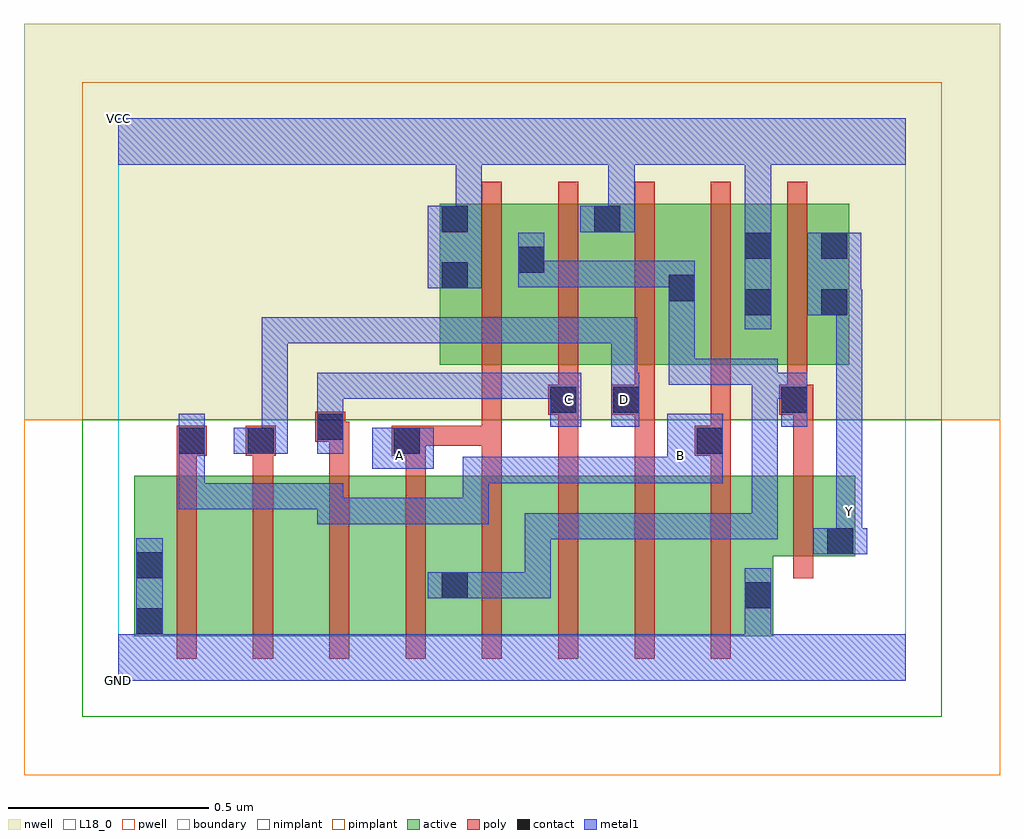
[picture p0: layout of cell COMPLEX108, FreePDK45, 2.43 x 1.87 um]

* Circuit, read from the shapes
.subckt COMPLEX108 A B C D GND VCC Y
M1 n1 B GND VSUBS nfet w=0.4u l=0.05u
M2 n2 D n1 VSUBS nfet w=0.4u l=0.05u
M3 n3 C n2 VSUBS nfet w=0.4u l=0.05u
M4 n4 A n3 VSUBS nfet w=0.4u l=0.05u
M5 n5 A n4 VSUBS nfet w=0.4u l=0.05u
M6 n6 C n5 VSUBS nfet w=0.4u l=0.05u
M7 n7 D n6 VSUBS nfet w=0.4u l=0.05u
M8 GND B n7 VSUBS nfet w=0.4u l=0.05u
M9 Y n4 GND VSUBS nfet w=0.2u l=0.05u
M10 n4 A VCC n8 pfet w=0.4u l=0.05u
M11 VCC C n4 n8 pfet w=0.4u l=0.05u
M12 n4 D VCC n8 pfet w=0.4u l=0.05u
M13 VCC B n4 n8 pfet w=0.4u l=0.05u
M14 Y n4 VCC n8 pfet w=0.4u l=0.05u
.ends

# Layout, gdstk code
import gdstk
lib = gdstk.Library(unit=1e-6, precision=1e-09)
def R(c, l, rs):  # rectangles x0, y0, x1, y1
    for r in rs: c.add(gdstk.rectangle(r[:2], r[2:], *l))
def A(c, l, x, y, w, h, nx, ny, dx, dy):  # array of equal rectangles
    R(c, l, [(x+i*dx, y+j*dy, x+i*dx+w, y+j*dy+h) for i in range(nx) for j in range(ny)])
active = (1, 0)
pwell = (2, 0)
nwell = (3, 0)
nimplant = (4, 0)
pimplant = (5, 0)
poly = (9, 0)
contact = (10, 0)
metal1 = (11, 0)
L18_0 = (18, 0)
boundary = (235, 0)

complex108 = lib.new_cell('COMPLEX108')
R(complex108, active, [(0.04,0.11,0.265,0.51), (0.04,0.11,0.115,0.51), (0.265,0.11,0.455,0.51), (0.455,0.11,0.645,0.51), (0.645,0.11,0.875,0.51), (0.8,0.11,1.025,0.51), (1.025,0.11,1.215,0.51), (1.215,0.11,1.405,0.51), (1.405,0.11,1.63,0.51), (1.555,0.175,1.63,0.407), (0.8,0.195,0.875,0.492), (1.555,0.31,1.835,0.51), (1.76,0.31,1.835,0.51), (0.8,0.787,1.065,1.187), (0.99,0.787,1.255,1.187), (1.18,0.787,1.44,1.187), (1.365,0.787,1.63,1.187), (1.555,0.787,1.82,1.187), (1.745,0.787,1.82,1.185), (0.99,0.802,1.065,1.165), (1.555,0.817,1.63,1.187), (0.8,0.907,0.875,1.187), (1.18,0.907,1.255,1.187), (1.365,0.907,1.44,1.105)])
R(complex108, pwell, [(-0.235,-0.235,2.195,0.65)])
R(complex108, nwell, [(-0.235,0.65,2.195,1.635)])
R(complex108, nimplant, [(-0.09,-0.09,2.05,0.65)])
R(complex108, pimplant, [(-0.09,0.65,2.05,1.49)])
A(complex108, poly, 0.145, 0.055, 0.05, 0.51, 8, 1, 0.19, 0)
A(complex108, poly, 0.905, 0.732, 0.05, 0.51, 5, 1, 0.19, 0)
R(complex108, poly, [(1.68,0.255,1.73,0.565), (0.145,0.515,0.195,0.61), (0.335,0.515,0.385,0.61), (0.525,0.515,0.575,0.645), (0.715,0.515,0.765,0.61), (0.905,0.515,0.955,0.635), (1.095,0.515,1.145,0.712), (1.285,0.515,1.335,0.712), (1.475,0.515,1.525,0.61), (1.68,0.515,1.73,0.712), (0.145,0.56,0.22,0.635), (0.317,0.56,0.392,0.635), (0.335,0.56,0.385,0.61), (0.335,0.56,0.385,0.61), (0.68,0.56,0.765,0.635), (1.435,0.56,1.525,0.635), (0.715,0.585,0.765,0.635), (0.715,0.585,0.765,0.635), (0.715,0.585,0.955,0.635), (0.905,0.585,0.955,0.635), (0.905,0.585,0.955,0.635), (0.905,0.585,0.955,0.635), (0.905,0.585,0.955,0.782), (1.475,0.585,1.525,0.635), (1.475,0.585,1.525,0.635), (1.475,0.585,1.525,0.782), (0.49,0.595,0.565,0.67), (0.515,0.595,0.565,0.645), (0.515,0.595,0.575,0.645), (1.07,0.662,1.145,0.737), (1.095,0.662,1.145,0.712), (1.095,0.662,1.145,0.712), (1.227,0.662,1.335,0.737), (1.285,0.662,1.335,0.712), (1.285,0.662,1.335,0.712), (1.645,0.662,1.73,0.737), (1.095,0.687,1.145,0.782), (1.285,0.687,1.335,0.782), (1.665,0.687,1.715,0.782), (1.665,0.687,1.715,0.737), (1.665,0.687,1.715,0.737)])
R(complex108, contact, [(0.045,0.115,0.11,0.18), (1.56,0.18,1.625,0.245), (0.805,0.205,0.87,0.27), (0.045,0.255,0.11,0.32), (1.765,0.315,1.83,0.38), (0.15,0.565,0.215,0.63), (0.322,0.565,0.387,0.63), (0.685,0.565,0.75,0.63), (1.44,0.565,1.505,0.63), (0.495,0.6,0.56,0.665), (1.075,0.667,1.14,0.732), (1.232,0.667,1.297,0.732), (1.65,0.667,1.715,0.732), (1.56,0.91,1.625,0.975), (1.75,0.91,1.815,0.975), (1.37,0.945,1.435,1.01), (0.805,0.977,0.87,1.042), (0.995,1.015,1.06,1.08), (1.56,1.05,1.625,1.115), (1.75,1.05,1.815,1.115), (0.805,1.117,0.87,1.182), (1.185,1.117,1.25,1.182)])
R(complex108, metal1, [(0,0,1.96,0.115), (0.045,0.05,0.11,0.145), (1.56,0.05,1.625,0.21), (0.045,0.08,0.11,0.355), (1.56,0.145,1.625,0.28), (0.77,0.205,0.905,0.27), (0.84,0.205,0.922,0.27), (0.857,0.205,0.922,0.27), (0.857,0.205,1.077,0.27), (1.012,0.205,1.077,0.27), (1.012,0.205,1.077,0.417), (1.73,0.315,1.865,0.38), (1.787,0.315,1.852,0.417), (1.012,0.352,1.077,0.417), (1.012,0.352,1.077,0.417), (1.012,0.352,1.077,0.417), (1.012,0.352,1.29,0.417), (1.225,0.352,1.29,0.417), (1.225,0.352,1.29,0.417), (1.225,0.352,1.29,0.417), (1.225,0.352,1.487,0.417), (1.422,0.352,1.487,0.417), (1.422,0.352,1.487,0.417), (1.422,0.352,1.487,0.417), (1.422,0.352,1.642,0.417), (1.577,0.352,1.642,0.417), (1.577,0.352,1.642,0.767), (1.787,0.352,1.852,0.487), (0.495,0.39,0.56,0.455), (0.495,0.39,0.56,0.492), (0.495,0.39,0.785,0.455), (0.72,0.39,0.785,0.455), (0.72,0.39,0.922,0.455), (0.857,0.39,0.922,0.455), (0.857,0.39,0.922,0.557), (1.787,0.422,1.852,0.975), (0.15,0.427,0.422,0.492), (0.15,0.427,0.215,0.595), (0.357,0.427,0.422,0.492), (0.357,0.427,0.422,0.492), (0.357,0.427,0.422,0.492), (0.357,0.427,0.56,0.492), (0.495,0.427,0.56,0.492), (0.495,0.427,0.56,0.492), (0.495,0.427,0.56,0.492), (0.857,0.492,0.922,0.557), (0.857,0.492,0.922,0.557), (0.857,0.492,0.922,0.557), (0.857,0.492,1.077,0.557), (1.012,0.492,1.077,0.557), (1.012,0.492,1.077,0.557), (1.012,0.492,1.077,0.557), (1.012,0.492,1.29,0.557), (1.225,0.492,1.29,0.557), (1.225,0.492,1.29,0.557), (1.225,0.492,1.29,0.557), (1.225,0.492,1.432,0.557), (1.367,0.492,1.432,0.557), (1.367,0.492,1.432,0.557), (1.367,0.492,1.505,0.665), (0.632,0.527,0.785,0.63), (0.15,0.53,0.215,0.595), (0.15,0.53,0.215,0.665), (0.287,0.565,0.422,0.63), (0.357,0.565,0.422,0.63), (0.357,0.565,0.422,0.63), (0.357,0.565,0.422,0.905), (0.495,0.565,0.56,0.7), (1.075,0.632,1.152,0.767), (1.227,0.632,1.297,0.767), (1.65,0.632,1.715,0.767), (0.495,0.635,0.56,0.7), (0.495,0.635,0.56,0.767), (0.495,0.702,0.785,0.767), (0.72,0.702,0.785,0.767), (0.72,0.702,0.922,0.767), (0.857,0.702,0.922,0.767), (0.857,0.702,0.922,0.767), (0.857,0.702,0.922,0.767), (0.857,0.702,1.06,0.767), (0.995,0.702,1.06,0.767), (0.995,0.702,1.14,0.767), (1.227,0.702,1.292,0.767), (1.227,0.702,1.292,0.767), (1.227,0.702,1.292,0.905), (1.577,0.702,1.642,0.767), (1.577,0.702,1.715,0.767), (1.577,0.702,1.642,0.802), (1.37,0.737,1.435,0.802), (1.37,0.737,1.435,0.802), (1.37,0.737,1.435,0.802), (1.37,0.737,1.642,0.802), (1.37,0.737,1.435,0.975), (1.577,0.737,1.642,0.802), (0.357,0.84,0.422,0.905), (0.357,0.84,0.56,0.905), (0.495,0.84,0.56,0.905), (0.495,0.84,0.56,0.905), (0.495,0.84,0.56,0.905), (0.495,0.84,0.785,0.905), (0.72,0.84,0.785,0.905), (0.72,0.84,0.922,0.905), (0.857,0.84,0.922,0.905), (0.857,0.84,0.922,0.905), (0.857,0.84,0.922,0.905), (0.857,0.84,1.077,0.905), (1.012,0.84,1.077,0.905), (1.012,0.84,1.077,0.905), (1.012,0.84,1.077,0.905), (1.012,0.84,1.292,0.905), (1.227,0.84,1.292,0.905), (1.56,0.875,1.625,1.15), (1.37,0.91,1.435,1.045), (1.715,0.91,1.85,1.115), (1.785,0.91,1.85,0.975), (1.785,0.91,1.852,0.975), (0.77,0.977,0.905,1.182), (0.995,0.98,1.06,1.045), (0.995,0.98,1.06,1.045), (0.995,0.98,1.06,1.115), (0.995,0.98,1.29,1.045), (1.225,0.98,1.29,1.045), (1.225,0.98,1.29,1.045), (1.225,0.98,1.29,1.045), (1.225,0.98,1.435,1.045), (1.37,0.98,1.435,1.045), (1.37,0.98,1.435,1.045), (1.56,1.085,1.625,1.35), (0.84,1.117,0.905,1.35), (1.15,1.117,1.285,1.182), (1.22,1.117,1.285,1.35), (0,1.285,1.96,1.4)])
R(complex108, L18_0, [(0,0,1.96,0.115), (0.045,0.05,0.11,0.145), (1.56,0.05,1.625,0.21), (0.045,0.08,0.11,0.355), (1.56,0.145,1.625,0.28), (1.73,0.315,1.865,0.38), (1.787,0.315,1.852,0.417), (1.787,0.352,1.852,0.487), (1.787,0.387,1.852,0.452), (0.495,0.39,0.56,0.455), (0.495,0.39,0.56,0.492), (0.495,0.39,0.785,0.455), (0.72,0.39,0.785,0.455), (0.72,0.39,0.922,0.455), (0.857,0.39,0.922,0.455), (0.857,0.39,0.922,0.557), (1.787,0.422,1.852,0.975), (0.15,0.427,0.215,0.595), (0.15,0.427,0.422,0.492), (0.357,0.427,0.422,0.492), (0.357,0.427,0.422,0.492), (0.357,0.427,0.422,0.492), (0.357,0.427,0.56,0.492), (0.495,0.427,0.56,0.492), (0.495,0.427,0.56,0.492), (0.495,0.427,0.56,0.492), (0.857,0.492,0.922,0.557), (0.857,0.492,0.922,0.557), (0.857,0.492,0.922,0.557), (0.857,0.492,1.077,0.557), (1.012,0.492,1.077,0.557), (1.012,0.492,1.077,0.557), (1.012,0.492,1.077,0.557), (1.012,0.492,1.29,0.557), (1.225,0.492,1.29,0.557), (1.225,0.492,1.29,0.557), (1.225,0.492,1.29,0.557), (1.225,0.492,1.432,0.557), (1.367,0.492,1.432,0.557), (1.367,0.492,1.432,0.557), (1.367,0.492,1.505,0.665), (0.632,0.527,0.785,0.63), (0.667,0.527,0.732,0.592), (1.367,0.527,1.432,0.592), (0.15,0.53,0.215,0.665), (0.15,0.53,0.215,0.595), (0.287,0.565,0.422,0.63), (0.357,0.565,0.422,0.63), (0.357,0.565,0.422,0.63), (0.357,0.565,0.422,0.905), (0.495,0.565,0.56,0.7), (1.075,0.632,1.152,0.767), (1.227,0.632,1.297,0.767), (0.495,0.635,0.56,0.7), (0.495,0.635,0.56,0.767), (1.087,0.667,1.152,0.732), (1.227,0.667,1.292,0.732), (0.495,0.702,0.785,0.767), (0.72,0.702,0.785,0.767), (0.72,0.702,0.922,0.767), (0.857,0.702,0.922,0.767), (0.857,0.702,0.922,0.767), (0.857,0.702,0.922,0.767), (0.857,0.702,1.06,0.767), (0.995,0.702,1.06,0.767), (0.995,0.702,1.14,0.767), (1.227,0.702,1.292,0.767), (1.227,0.702,1.292,0.767), (1.227,0.702,1.292,0.905), (0.357,0.84,0.422,0.905), (0.357,0.84,0.56,0.905), (0.495,0.84,0.56,0.905), (0.495,0.84,0.56,0.905), (0.495,0.84,0.56,0.905), (0.495,0.84,0.785,0.905), (0.72,0.84,0.785,0.905), (0.72,0.84,0.922,0.905), (0.857,0.84,0.922,0.905), (0.857,0.84,0.922,0.905), (0.857,0.84,0.922,0.905), (0.857,0.84,1.077,0.905), (1.012,0.84,1.077,0.905), (1.012,0.84,1.077,0.905), (1.012,0.84,1.077,0.905), (1.012,0.84,1.292,0.905), (1.227,0.84,1.292,0.905), (1.56,0.875,1.625,1.15), (1.715,0.91,1.85,1.115), (1.785,0.91,1.85,0.975), (1.785,0.91,1.852,0.975), (0.77,0.977,0.905,1.182), (1.56,1.085,1.625,1.35), (0.84,1.117,0.905,1.35), (1.15,1.117,1.285,1.182), (1.22,1.117,1.285,1.35), (0,1.285,1.96,1.4)])
R(complex108, boundary, [(0,0,1.96,1.4)])
complex108.add(gdstk.Label('A', (0.7,0.56), layer=11, texttype=0))
complex108.add(gdstk.Label('B', (1.4,0.56), layer=11, texttype=0))
complex108.add(gdstk.Label('C', (1.12,0.7), layer=11, texttype=0))
complex108.add(gdstk.Label('D', (1.26,0.7), layer=11, texttype=0))
complex108.add(gdstk.Label('Y', (1.82,0.42), layer=11, texttype=0))
complex108.add(gdstk.Label('VCC', (0,1.4), layer=11, texttype=0))
complex108.add(gdstk.Label('GND', (0,0), layer=11, texttype=0))

lib.write_gds('COMPLEX108.gds')
